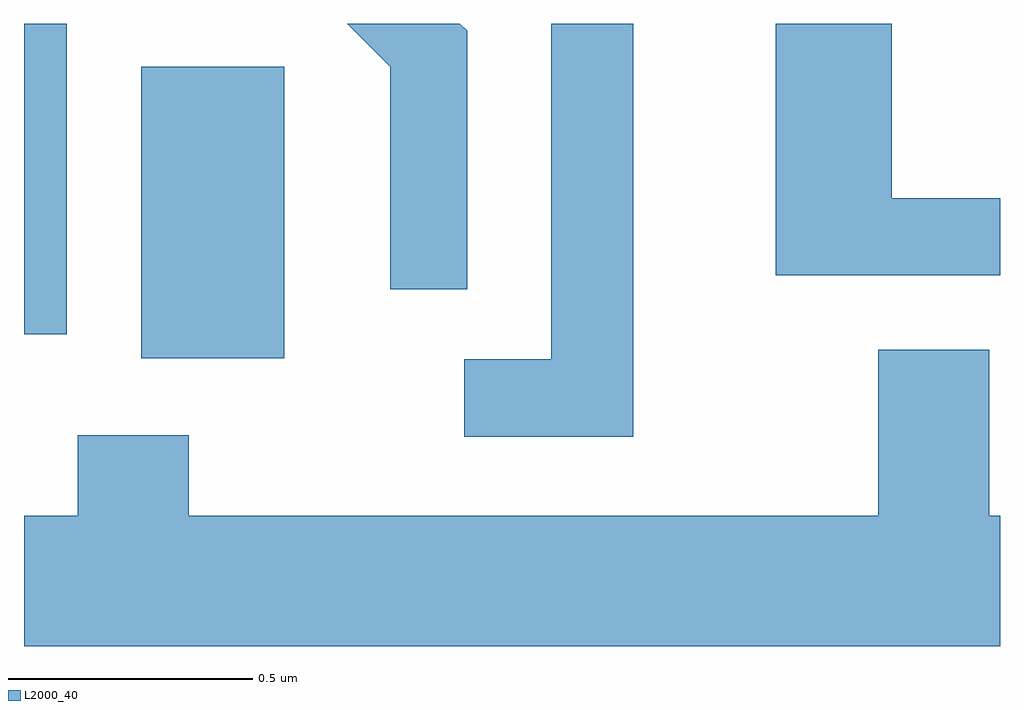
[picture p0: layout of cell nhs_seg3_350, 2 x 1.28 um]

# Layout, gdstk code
import gdstk
lib = gdstk.Library(unit=1e-6, precision=1e-09)
def R(c, l, rs):  # rectangles x0, y0, x1, y1
    for r in rs: c.add(gdstk.rectangle(r[:2], r[2:], *l))
def P(c, l, *ps):  # polygons
    for p in ps: c.add(gdstk.Polygon(p, *l))
L2000_40 = (2000, 40)

nhs_seg3_350 = lib.new_cell('nhs_seg3_350')
R(nhs_seg3_350, L2000_40, [(187.851,1193.206,188.144,1193.804), (187.611,1193.256,187.699,1193.892)])
P(nhs_seg3_350, L2000_40, [(189.611,1193.534),(189.389,1193.534),(189.389,1193.892),(189.151,1193.892),(189.151,1193.376),(189.611,1193.376)],
  [(188.859,1193.892),(188.691,1193.892),(188.691,1193.204),(188.513,1193.204),(188.513,1193.046),(188.859,1193.046)],
  [(188.519,1193.877),(188.504,1193.892),(188.273,1193.892),(188.361,1193.804),(188.361,1193.348),(188.519,1193.348)],
  [(189.611,1192.884),(189.589,1192.884),(189.589,1193.224),(189.361,1193.224),(189.361,1192.884),(187.949,1192.884),(187.949,1193.049),(187.721,1193.049),(187.721,1192.884),(187.611,1192.884),(187.611,1192.616),(189.611,1192.616)])

lib.write_gds('nhs_seg3_350.gds')
